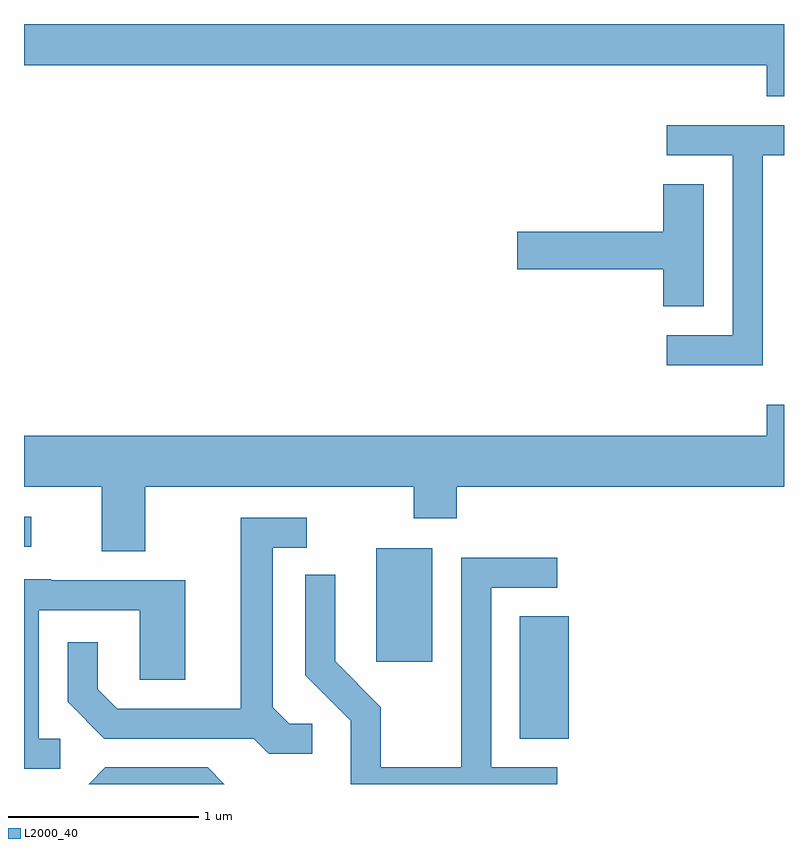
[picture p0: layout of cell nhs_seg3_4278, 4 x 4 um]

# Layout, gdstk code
import gdstk
lib = gdstk.Library(unit=1e-6, precision=1e-09)
def R(c, l, rs):  # rectangles x0, y0, x1, y1
    for r in rs: c.add(gdstk.rectangle(r[:2], r[2:], *l))
def P(c, l, *ps):  # polygons
    for p in ps: c.add(gdstk.Polygon(p, *l))
L2000_40 = (2000, 40)

nhs_seg3_4278 = lib.new_cell('nhs_seg3_4278')
R(nhs_seg3_4278, L2000_40, [(312.221,1240.131,312.479,1240.774), (311.466,1240.536,311.759,1241.134), (309.611,1241.141,309.648,1241.299)])
P(nhs_seg3_4278, L2000_40, [(313.611,1243.892),(309.611,1243.892),(309.611,1243.676),(313.521,1243.676),(313.521,1243.511),(313.611,1243.511)],
  [(313.499,1243.201),(313.611,1243.201),(313.611,1243.359),(312.993,1243.359),(312.993,1243.201),(313.341,1243.201),(313.341,1242.254),(312.993,1242.254),(312.993,1242.096),(313.499,1242.096)],
  [(313.189,1243.049),(312.976,1243.049),(312.976,1242.799),(312.206,1242.799),(312.206,1242.601),(312.976,1242.601),(312.976,1242.406),(313.189,1242.406)],
  [(310.249,1241.456),(311.661,1241.456),(311.661,1241.291),(311.889,1241.291),(311.889,1241.456),(313.611,1241.456),(313.611,1241.889),(313.521,1241.889),(313.521,1241.724),(309.611,1241.724),(309.611,1241.456),(310.021,1241.456),(310.021,1241.116),(310.249,1241.116)],
  [(311.128,1240.209),(311.007,1240.209),(310.919,1240.297),(310.919,1241.136),(311.098,1241.136),(311.098,1241.294),(310.751,1241.294),(310.751,1240.289),(310.102,1240.289),(309.999,1240.392),(309.999,1240.638),(309.841,1240.638),(309.841,1240.324),(310.034,1240.131),(310.819,1240.131),(310.899,1240.051),(311.128,1240.051)],
  [(312.418,1239.979),(312.069,1239.979),(312.069,1240.926),(312.418,1240.926),(312.418,1241.084),(311.911,1241.084),(311.911,1239.979),(311.489,1239.979),(311.489,1240.297),(311.249,1240.537),(311.249,1240.993),(311.091,1240.993),(311.091,1240.464),(311.331,1240.224),(311.331,1239.892),(312.418,1239.892)],
  [(309.803,1240.129),(309.689,1240.129),(309.689,1240.806),(310.221,1240.806),(310.221,1240.441),(310.459,1240.441),(310.459,1240.964),(309.755,1240.964),(309.755,1240.969),(309.611,1240.969),(309.611,1239.971),(309.803,1239.971)],
  [(310.577,1239.979),(310.039,1239.979),(309.952,1239.892),(310.664,1239.892)])

lib.write_gds('nhs_seg3_4278.gds')
